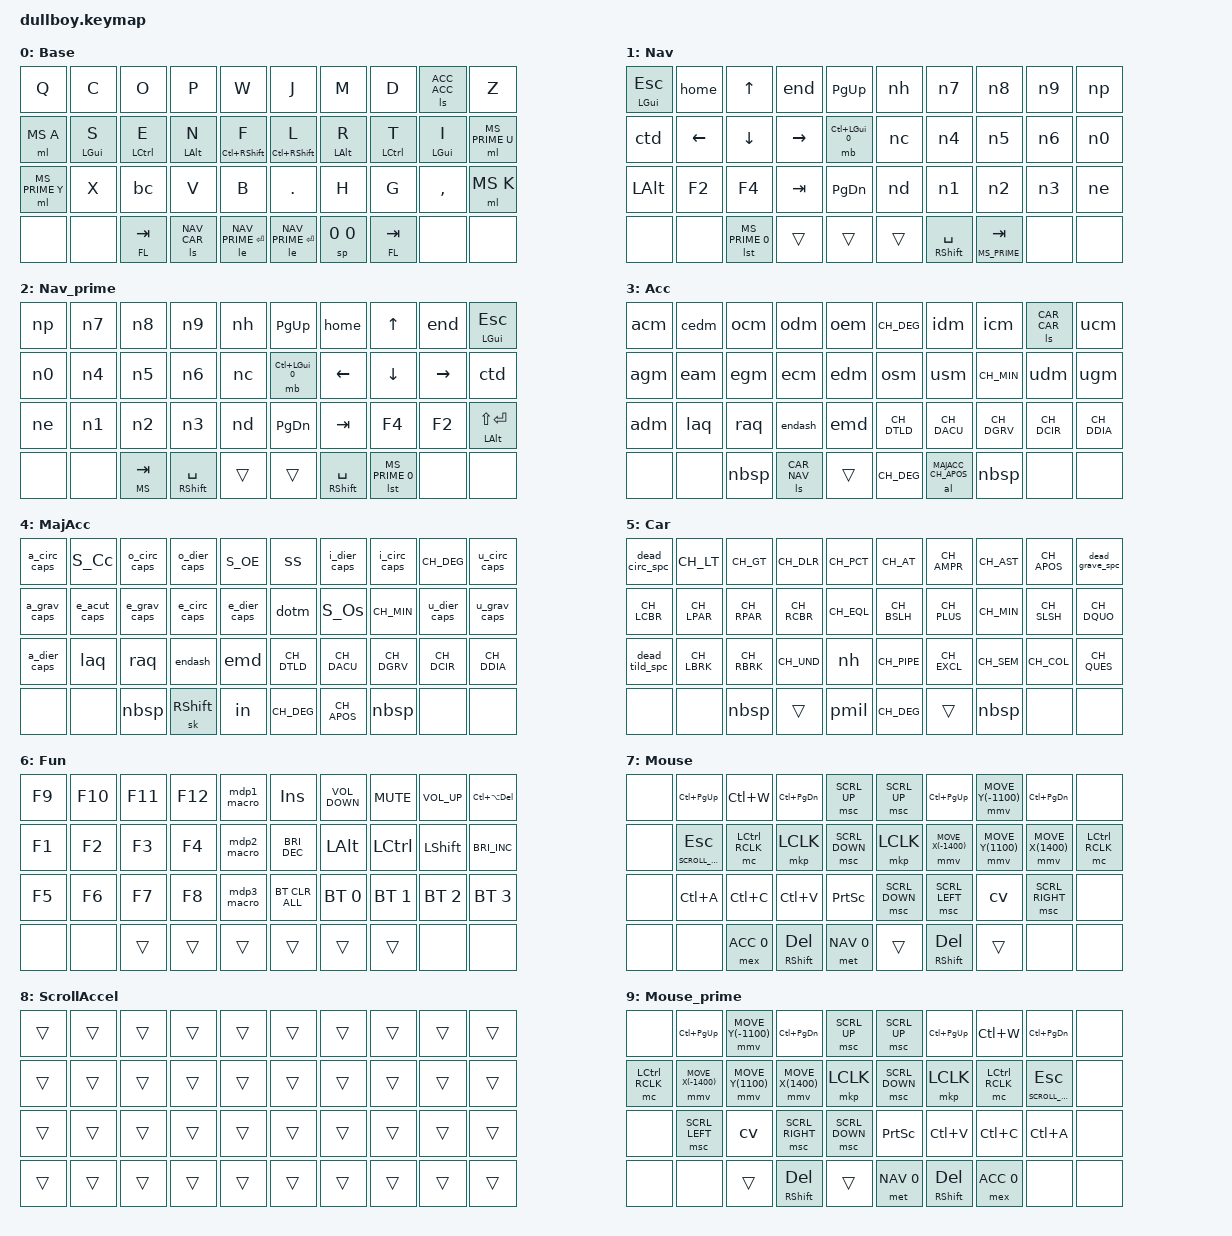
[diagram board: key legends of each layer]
#include <behaviors.dtsi>
#include "layout.h"
#include "layers.h"
#include <dt-bindings/zmk/keys.h>
#include <dt-bindings/zmk/modifiers.h>
#define ZMK_POINTING_DEFAULT_SCRL_VAL 15
#include <dt-bindings/zmk/mouse.h>
#include <dt-bindings/zmk/pointing.h>
#include <dt-bindings/zmk/bt.h>
#include <input/processors.dtsi>
#include <zephyr/dt-bindings/input/input-event-codes.h>

/* Index de layers : définis dans layers.h (inclus ci-dessus),
 * donc disponibles aussi dans combos.dtsi et dullboy_behaviors.dtsi. */
#include "macros.dtsi"
#include "combos.dtsi"

#include "dullboy_behaviors.dtsi"

&lt {
    flavor = "hold-preferred";
    tapping-term-ms = <200>;
    quick-tap-ms = <0>;
};

&mt {
    tapping-term-ms = <150>;
};

&sl {
    release-after-ms = <300>;
};

&mmv {
    time-to-max-speed-ms = <400>;
    acceleration-exponent = <2>;
};

/ {

  /* --- Scroll accel via input processor --- */
  scroll_scaler: scroll_scaler {
    compatible = "zmk,input-processor-scaler";
    #input-processor-cells = <2>;
    type = <INPUT_EV_REL>;
    codes = <INPUT_REL_WHEEL INPUT_REL_HWHEEL>;
    track-remainders;
  };

keymap {
  compatible = "zmk,keymap";

  /* --- Base layer selection -------------------------------------------------
   * Change exactly one block from '#if 0' to '#if 1'.
   * Only one base layer must be active at a time.
   *
   * Active choices:
   *   - QWERTY
   *   - COLEMAK
   *   - WORKMAN
   *   - DVORAK
   *   - ERGOL
   *
   * The active base layer should also be reflected in any related define
   * elsewhere in the file if your configuration uses one.
   * ------------------------------------------------------------------------ */

#if 0 // QWERTY
base_qwerty {
  label = "Base";
  bindings = <
    &kp Q           &kp W        &kp E         &kp R        &kp T                &kp Y                &kp U        &kp I         &kp O        &kp P
    &ml MS A        &hml LGUI S  &hml LCTRL D  &hml LALT F  &hml LC(RSHFT) G     &hmr LC(RSHFT) H     &hmr LALT J  &hmr LCTRL K  &hmr LGUI L  &ml MS_PRIME SEMI
    &ml MS_PRIME Z  &kp X        &bc           &kp C        &kp V                &kp B                &kp N        &kp M         &ls ACC ACC  &ml MS PERIOD
    &none           &none        &lt FL TAB    &ls NAV CAR  &le NAV_PRIME ENTER  &le NAV_PRIME ENTER  &sp 0 0      &lt FL TAB    &none        &none
  >;
};
#endif

#if 0 // COLEMAK
base_colemak {
  label = "Base";
  bindings = <
    &kp Q           &kp W        &kp F         &kp P        &kp G                &kp J                &kp L        &kp U         &kp Y        &ls ACC ACC
    &ml MS A        &hml LGUI R  &hml LCTRL S  &hml LALT T  &hml LC(RSHFT) D     &hmr LC(RSHFT) H     &hmr LALT N  &hmr LCTRL E  &hmr LGUI I  &ml MS_PRIME O
    &ml MS_PRIME Z  &kp X        &bc           &kp C        &kp V                &kp B                &kp K        &kp M         &kp COMMA    &ml MS PERIOD
    &none           &none        &lt FL TAB    &ls NAV CAR  &le NAV_PRIME ENTER  &le NAV_PRIME ENTER  &sp 0 0      &lt FL TAB    &none        &none
  >;
};
#endif

#if 0 // WORKMAN
base_workman {
  label = "Base";
  bindings = <
    &kp Q           &kp D        &kp R         &kp W        &kp B                &kp J                &kp F        &kp U         &kp P        &ls ACC ACC
    &ml MS A        &hml LGUI S  &hml LCTRL H  &hml LALT T  &hml LC(RSHFT) G     &hmr LC(RSHFT) Y     &hmr LALT N  &hmr LCTRL E  &hmr LGUI O  &ml MS_PRIME I
    &ml MS_PRIME Z  &kp X        &bc           &kp M        &kp C                &kp V                &kp K        &kp L         &kp COMMA    &ml MS PERIOD
    &none           &none        &lt FL TAB    &ls NAV CAR  &le NAV_PRIME ENTER  &le NAV_PRIME ENTER  &sp 0 0      &lt FL TAB    &none        &none
  >;
};
#endif

#if 0 // DVORAK
base_dvorak {
  label = "Base";
  bindings = <
    &ls ACC ACC     &kp COMMA    &kp PERIOD    &kp P        &kp Y                &kp F                &kp G        &kp C         &kp R        &kp L
    &ml MS A        &hml LGUI O  &hml LCTRL E  &hml LALT U  &hml LC(RSHFT) I     &hmr LC(RSHFT) D     &hmr LALT H  &hmr LCTRL T  &hmr LGUI N  &ml MS_PRIME S
    &ml MS_PRIME Z  &kp Q        &bc           &kp J        &kp K                &kp X                &kp B        &kp M         &kp W        &ml MS V
    &none           &none        &lt FL TAB    &ls NAV CAR  &le NAV_PRIME ENTER  &le NAV_PRIME ENTER  &sp 0 0      &lt FL TAB    &none        &none
  >;
};
#endif

#if 1 // ERGOL
base_ergol {
  label = "Base";
  bindings = <
    &kp Q           &kp C        &kp O         &kp P        &kp W                &kp J                &kp M        &kp D         &ls ACC ACC  &kp Z
    &ml MS A        &hml LGUI S  &hml LCTRL E  &hml LALT N  &hml LC(RSHFT) F     &hmr LC(RSHFT) L     &hmr LALT R  &hmr LCTRL T  &hmr LGUI I  &ml MS_PRIME U
    &ml MS_PRIME Y  &kp X        &bc           &kp V        &kp B                &kp PERIOD           &kp H        &kp G         &kp COMMA    &ml MS K
    &none           &none        &lt FL TAB    &ls NAV CAR  &le NAV_PRIME ENTER  &le NAV_PRIME ENTER  &sp 0 0      &lt FL TAB    &none        &none
  >;
};
#endif

#if 1
nav {
  label = "Nav";
  bindings = <
    &hml LGUI ESC  &home     &kp UP           &end       &kp PG_UP       &nh     &n7               &n8               &n9    &np
    &ctd           &kp LEFT  &kp DOWN         &kp RIGHT  &mb LC(LGUI) 0  &nc     &n4               &n5               &n6    &n0
    &kp LEFT_ALT   &kp F2    &kp F4           &kp TAB    &kp PG_DN       &nd     &n1               &n2               &n3    &ne
    &none          &none     &lst MS_PRIME 0  &trans     &trans          &trans  &mt RSHIFT SPACE  &lt MS_PRIME TAB  &none  &none
  >;
};
#endif

#if 1
nav_prime {
  label = "Nav_prime";
  bindings = <
    &np    &n7    &n8         &n9               &nh     &kp PG_UP       &home             &kp UP           &end       &hml LGUI ESC
    &n0    &n4    &n5         &n6               &nc     &mb LC(LGUI) 0  &kp LEFT          &kp DOWN         &kp RIGHT  &ctd
    &ne    &n1    &n2         &n3               &nd     &kp PG_DN       &kp TAB           &kp F4           &kp F2     &mt LEFT_ALT LS(ENTER)
    &none  &none  &lt MS TAB  &mt RSHIFT SPACE  &trans  &trans          &mt RSHIFT SPACE  &lst MS_PRIME 0  &none      &none
  >;
};
#endif

#if 1
acc {
  label = "Acc";
  bindings = <
    &acm   &cedm  &ocm   &odm         &oem    &kp CH_DEG   &idm                &icm         &ls CAR CAR  &ucm
    &agm   &eam   &egm   &ecm         &edm    &osm         &usm                &kp CH_MIN   &udm         &ugm
    &adm   &laq   &raq   &endash      &emd    &kp CH_DTLD  &kp CH_DACU         &kp CH_DGRV  &kp CH_DCIR  &kp CH_DDIA
    &none  &none  &nbsp  &ls CAR NAV  &trans  &kp CH_DEG   &al MAJACC CH_APOS  &nbsp        &none        &none
  >;
};
#endif

#if 1
majacc {
  label = "MajAcc";
  bindings = <
    &a_circ_caps  &S_Cc         &o_circ_caps  &o_dier_caps     &S_OE         &ss          &i_dier_caps  &i_circ_caps  &kp CH_DEG    &u_circ_caps
    &a_grav_caps  &e_acut_caps  &e_grav_caps  &e_circ_caps     &e_dier_caps  &dotm        &S_Os         &kp CH_MIN    &u_dier_caps  &u_grav_caps
    &a_dier_caps  &laq          &raq          &endash          &emd          &kp CH_DTLD  &kp CH_DACU   &kp CH_DGRV   &kp CH_DCIR   &kp CH_DDIA
    &none         &none         &nbsp         &sk RIGHT_SHIFT  &in           &kp CH_DEG   &kp CH_APOS   &nbsp         &none         &none
  >;
};
#endif

#if 1
car {
  label = "Car";
  bindings = <
    &dead_circ_spc  &kp CH_LT    &kp CH_GT    &kp CH_DLR   &kp CH_PCT  &kp CH_AT    &kp CH_AMPR  &kp CH_AST  &kp CH_APOS  &dead_grave_spc
    &kp CH_LCBR     &kp CH_LPAR  &kp CH_RPAR  &kp CH_RCBR  &kp CH_EQL  &kp CH_BSLH  &kp CH_PLUS  &kp CH_MIN  &kp CH_SLSH  &kp CH_DQUO
    &dead_tild_spc  &kp CH_LBRK  &kp CH_RBRK  &kp CH_UND   &nh         &kp CH_PIPE  &kp CH_EXCL  &kp CH_SEM  &kp CH_COL   &kp CH_QUES
    &none           &none        &nbsp        &trans       &pmil       &kp CH_DEG   &trans       &nbsp       &none        &none
  >;
};
#endif

#if 1
fl {
  label = "Fun";
  bindings = <
    &kp F9  &kp F10  &kp F11  &kp F12  &mdp1_macro  &kp INSERT            &kp C_VOLUME_DOWN  &kp C_MUTE        &kp C_VOLUME_UP  &kp LC(LA(DEL))
    &kp F1  &kp F2   &kp F3   &kp F4   &mdp2_macro  &kp C_BRIGHTNESS_DEC  &kp LEFT_ALT       &kp LEFT_CONTROL  &kp LEFT_SHIFT   &kp C_BRIGHTNESS_INC
    &kp F5  &kp F6   &kp F7   &kp F8   &mdp3_macro  &bt BT_CLR_ALL        &bt BT_SEL 0       &bt BT_SEL 1      &bt BT_SEL 2     &bt BT_SEL 3
    &none   &none    &trans   &trans   &trans       &trans                &trans             &trans            &none            &none
  >;
};
#endif

#if 1
ms {
  label = "Mouse";
  bindings = <
    &none  &kp LC(PG_UP)         &kp LC(W)       &kp LC(PG_DN)        &msc SCRL_UP     &msc SCRL_UP    &kp LC(PG_UP)        &mmv MOVE_Y(-1100)  &kp LC(PG_DN)      &none
    &none  &lt SCROLL_ACCEL ESC  &mc LCTRL RCLK  &mkp LCLK            &msc SCRL_DOWN   &mkp LCLK       &mmv MOVE_X(-1400)   &mmv MOVE_Y(1100)   &mmv MOVE_X(1400)  &mc LCTRL RCLK
    &none  &kp LC(A)             &kp LC(C)       &kp LC(V)            &kp PRINTSCREEN  &msc SCRL_DOWN  &msc SCRL_LEFT       &cv                 &msc SCRL_RIGHT    &none
    &none  &none                 &mex ACC 0      &mt RIGHT_SHIFT DEL  &met NAV 0       &trans          &mt RIGHT_SHIFT DEL  &trans              &none              &none
  >;
};
#endif

#if 1
scroll_accel {
  label = "ScrollAccel";
  bindings = <
    &trans  &trans  &trans  &trans  &trans  &trans  &trans  &trans  &trans  &trans
    &trans  &trans  &trans  &trans  &trans  &trans  &trans  &trans  &trans  &trans
    &trans  &trans  &trans  &trans  &trans  &trans  &trans  &trans  &trans  &trans
    &trans  &trans  &trans  &trans  &trans  &trans  &trans  &trans  &trans  &trans
  >;
};
#endif

#if 1
ms_prime {
  label = "Mouse_prime";
  bindings = <
    &none           &kp LC(PG_UP)       &mmv MOVE_Y(-1100)  &kp LC(PG_DN)        &msc SCRL_UP    &msc SCRL_UP     &kp LC(PG_UP)        &kp LC(W)       &kp LC(PG_DN)         &none
    &mc LCTRL RCLK  &mmv MOVE_X(-1400)  &mmv MOVE_Y(1100)   &mmv MOVE_X(1400)    &mkp LCLK       &msc SCRL_DOWN   &mkp LCLK            &mc LCTRL RCLK  &lt SCROLL_ACCEL ESC  &none
    &none           &msc SCRL_LEFT      &cv                 &msc SCRL_RIGHT      &msc SCRL_DOWN  &kp PRINTSCREEN  &kp LC(V)            &kp LC(C)       &kp LC(A)             &none
    &none           &none               &trans              &mt RIGHT_SHIFT DEL  &trans          &met NAV 0       &mt RIGHT_SHIFT DEL  &mex ACC 0      &none                 &none
  >;
};
#endif

#if 0 // GAMING — conservé, mais désactivé tant qu'aucun accès n'est défini
gaming {
  label = "Gaming";
  bindings = <
    &kp ESC     &kp Q   &kp W      &kp E      &kp R     &kp T      &kp Y     &kp U      &kp I   &kp O
    &kp TAB     &kp A   &kp S      &kp D      &kp F     &kp G      &kp H     &kp J      &kp K   &kp L
    &kp LSHIFT  &kp N1  &kp N2     &kp N3     &kp N4    &to BASE   &kp N5    &kp N6     &kp N7  &kp N8
    &none       &none   &kp LCTRL  &kp SPACE  &kp LALT  &kp ENTER  &kp RALT  &kp RCTRL  &none   &none
  >;
};
#endif

  };
};
&msc_input_listener {
  accel {
    layers = <SCROLL_ACCEL>;
    input-processors = <&scroll_scaler 8 1>; /* x8 */
  };
};
